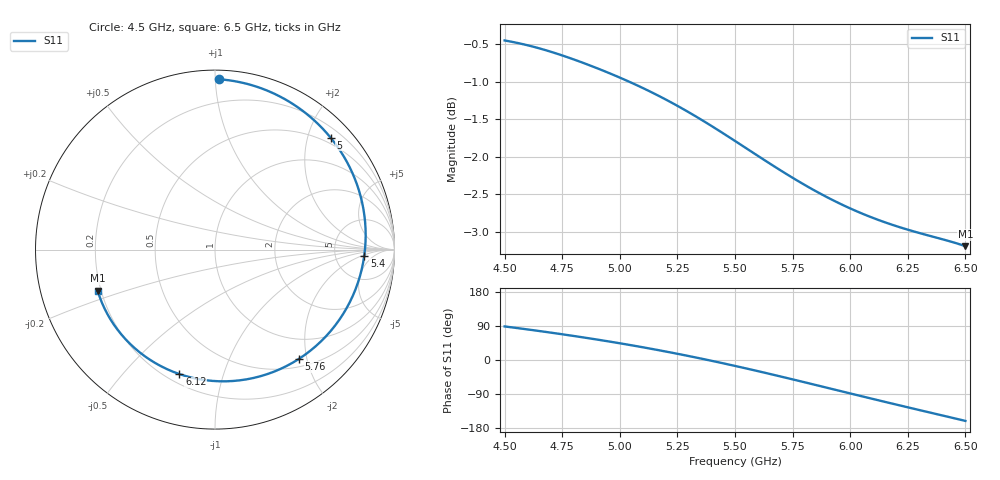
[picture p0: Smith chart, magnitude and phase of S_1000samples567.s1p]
! TOUCHSTONE file generated by CST MICROWAVE STUDIO
! Date and time: Fri Oct 28 15:19:40 2022
! Project name: L.cst
! Parameters = {Di=1.27; Epsilon_r=1.56; InnerDiameter=1.27; Length=2; Lf=10; Lg=60; OuterConductorThickness=0.2921; OuterDiameter=3.6; Wf=3; Wp=41.2; de=1.5; df=6.8; g=0.8; gx=3.85431; gy=2.74265; h=2.34; hf=1.524; px=11.3331; py=11.7465; w=9.7; wx=7.4788; wy=9.00384}
! Header version: 2018
! Port assignment regex: !\s*Touchstone port\s*([0-9]+)\s*=\s*(CST MWS port|CST DS port)\s*([0-9]+|Zmin|Zmax)\s*\(\"(.*)\"\)(\s*mode\s*([0-9]+))?.*
! Touchstone port assignment:
! Touchstone port 1 = CST MWS port 1 ("")
# GHz S DB R 50
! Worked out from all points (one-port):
!   101 points, 4.5 GHz to 6.5 GHz, reference 50 ohm
!   lowest |S11| = -3.2 dB at 6.5 GHz (marker M1), VSWR 5.51, Z = 9.33 - j8.21 ohm
!   |S11| at or under -10 dB: nowhere
!   S11 on the Smith chart (normalised r, x): 4.5 GHz: 0.05, +1.02; 5 GHz: 0.38, +2.42; 5.4 GHz: 10, -2; 5.76 GHz: 0.63, -1.86; 6.12 GHz: 0.25, -0.72; 6.5 GHz: 0.19, -0.16
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4.5  -0.45 88.6
4.64  -0.55 77.3
4.76  -0.66 67.0
4.88  -0.80 56.0
5  -0.95 44.1
5.06  -1.03 37.9
5.14  -1.15 29.1
5.2  -1.24 22.3
5.26  -1.34 15.2
5.34  -1.48 5.3
5.4  -1.59 -2.3
5.5  -1.79 -15.6
5.56  -1.91 -23.9
5.62  -2.03 -32.3
5.7  -2.18 -43.8
5.76  -2.30 -52.6
5.82  -2.40 -61.4
5.88  -2.51 -70.3
5.94  -2.60 -79.3
6  -2.69 -88.2
6.06  -2.77 -97.1
6.12  -2.84 -106.0
6.18  -2.90 -114.7
6.26  -2.98 -126.3
6.32  -3.03 -134.9
6.38  -3.08 -143.5
6.44  -3.13 -152.1
6.5  -3.19 -160.7
